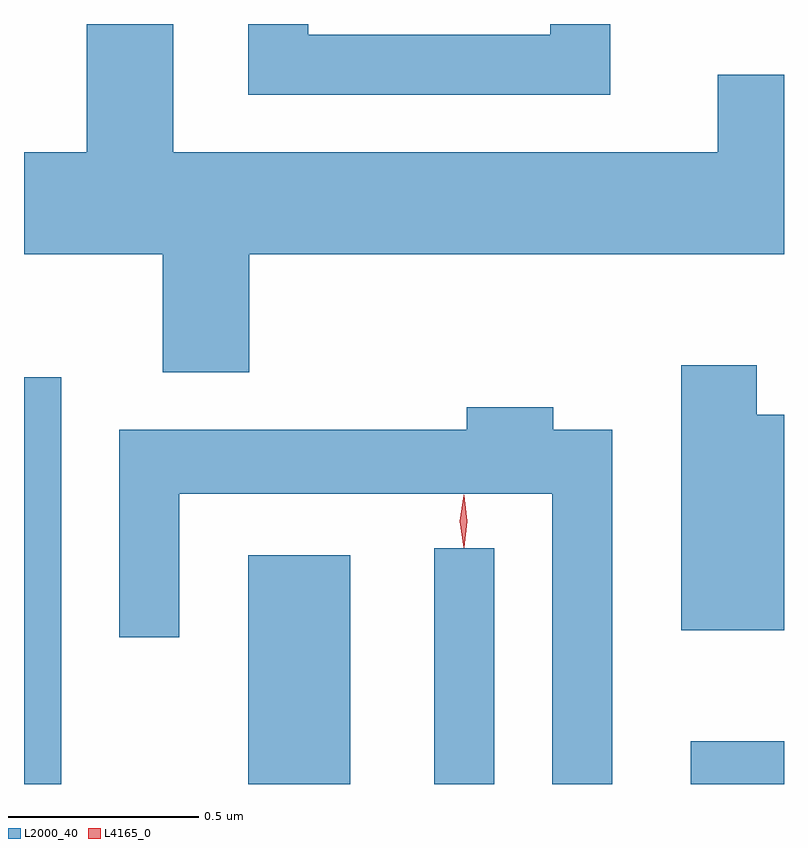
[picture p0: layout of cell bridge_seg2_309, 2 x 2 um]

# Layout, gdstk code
import gdstk
lib = gdstk.Library(unit=1e-6, precision=1e-09)
def R(c, l, rs):  # rectangles x0, y0, x1, y1
    for r in rs: c.add(gdstk.rectangle(r[:2], r[2:], *l))
def P(c, l, *ps):  # polygons
    for p in ps: c.add(gdstk.Polygon(p, *l))
L2000_40 = (2000, 40)
L4165_0 = (4165, 0)

bridge_seg2_309 = lib.new_cell('bridge_seg2_309')
R(bridge_seg2_309, L2000_40, [(407.446,1058.022,407.544,1059.093), (408.036,1058.022,408.304,1058.624), (408.526,1058.022,408.684,1058.643), (409.201,1058.022,409.446,1058.134)])
P(bridge_seg2_309, L2000_40, [(408.039,1059.416),(409.446,1059.416),(409.446,1059.889),(409.271,1059.889),(409.271,1059.684),(407.839,1059.684),(407.839,1060.022),(407.611,1060.022),(407.611,1059.684),(407.446,1059.684),(407.446,1059.416),(407.811,1059.416),(407.811,1059.106),(408.039,1059.106)],
  [(408.989,1060.022),(408.831,1060.022),(408.831,1059.994),(408.194,1059.994),(408.194,1060.022),(408.036,1060.022),(408.036,1059.836),(408.989,1059.836)],
  [(409.446,1058.994),(409.374,1058.994),(409.374,1059.124),(409.176,1059.124),(409.176,1058.426),(409.446,1058.426)],
  [(408.994,1058.954),(408.839,1058.954),(408.839,1059.014),(408.611,1059.014),(408.611,1058.954),(407.696,1058.954),(407.696,1058.408),(407.854,1058.408),(407.854,1058.786),(408.836,1058.786),(408.836,1058.022),(408.994,1058.022)])
P(bridge_seg2_309, L4165_0, [(408.603,1058.644),(408.603,1058.644),(408.593,1058.713),(408.603,1058.782),(408.603,1058.783),(408.604,1058.782),(408.613,1058.713),(408.604,1058.644)])

lib.write_gds('bridge_seg2_309.gds')
